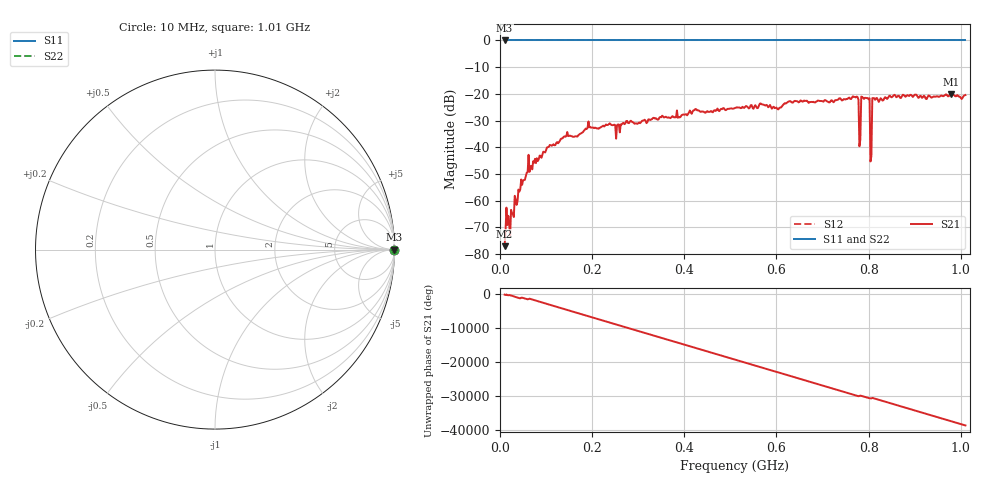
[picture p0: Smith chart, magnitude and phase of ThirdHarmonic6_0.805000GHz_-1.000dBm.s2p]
! 8/16/2025 2:49:58 AM
! C:\ANRITSUVNA\TEMP\TEMP.S2P
! CHANNEL.1
! TR.MEASUREMENT
! RAW.DATA
! RF.CORRECTION.OFF
! AVERAGING.OFF
! IF.BANDWIDTH: 5KHZ
! SWEEPTYPE:  FREQ.SWEEP(Linear)
! Reference Plane Port Info
! PORT:  PORT1  PORT2
! DISTANCE:  0  m  0  m
! TIME:  0  s  0  s
! PHASE.OFFSET:  0  deg.  0  deg.
! LOSS:  0  dB  0  dB
! REF.LOSS:  0  dB  0  dB
! REF.FREQ:  0  Hz  0  Hz
! Power Info
! POWER:  -20  dBm  -20  dBm
! EFF.POWER:  -20  dBm  -20  dBm
! SOURCE.ATTEN:  0  dB  0  dB
! TEST.ATTEN:  0  dB  0  dB
# GHZ S RI R 50.0
! FREQ.GHZ  S11RE  S11IM  S21RE  S21IM  S12RE  S12IM  S22RE  S22IM
!; PortSelection: Port_12
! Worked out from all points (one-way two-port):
!   501 points, 10 MHz to 1.01 GHz, reference 50 ohm
!   highest |S21| = -20.19 dB at 978 MHz (marker M1); lowest = -77.1 dB at 10 MHz (marker M2)
!   lowest |S11| = 0.0 dB at 10 MHz (marker M3)
!   |S11| at or under -10 dB: nowhere
!   |S22| runs from 0.0 to 0.0 dB; largest |S21 - S12| = 1.1
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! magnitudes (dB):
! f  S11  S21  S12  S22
! 10 MHz  0.0  -77.1  0.0  0.0
! 16 MHz  0.0  -69.2  0.0  0.0
! 26 MHz  0.0  -64.7  0.0  0.0
! 44 MHz  0.0  -55.8  0.0  0.0
! 64 MHz  0.0  -49.3  0.0  0.0
! 142 MHz  0.0  -36.1  0.0  0.0
! 178 MHz  0.0  -34.6  0.0  0.0
! 344 MHz  0.0  -29.6  0.0  0.0
! 510 MHz  0.0  -25.3  0.0  0.0
! 678 MHz  0.0  -23.1  0.0  0.0
! 772 MHz  0.0  -21.4  0.0  0.0
! 778 MHz  0.0  -22.2  0.0  0.0
! 782 MHz  0.0  -37.1  0.0  0.0
! 788 MHz  0.0  -21.6  0.0  0.0
! 798 MHz  0.0  -21.6  0.0  0.0
! 802 MHz  0.0  -21.7  0.0  0.0
! 804 MHz  0.0  -45.4  0.0  0.0
! 808 MHz  0.0  -21.6  0.0  0.0
! 812 MHz  0.0  -21.6  0.0  0.0
! 844 MHz  0.0  -20.9  0.0  0.0
! 978 MHz  0.0  -20.2  0.0  0.0
! 1.01 GHz  0.0  -20.4  0.0  0.0
